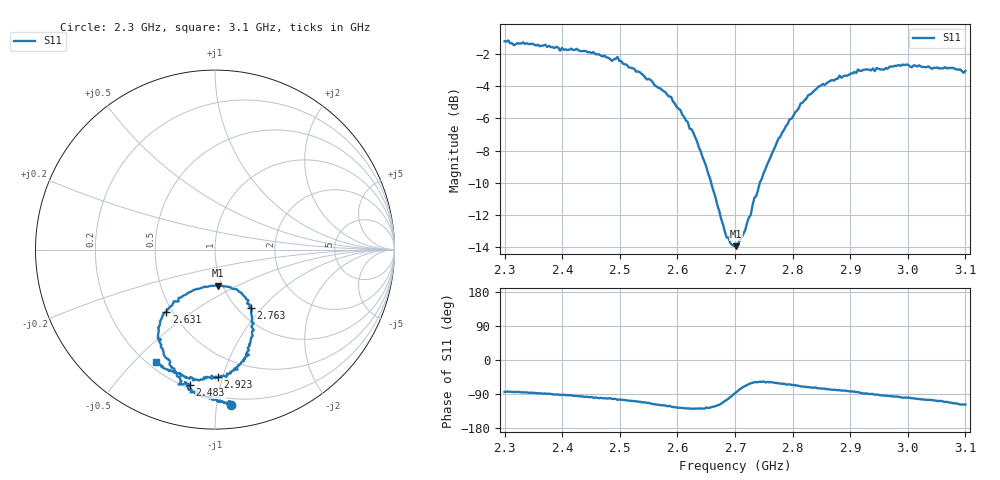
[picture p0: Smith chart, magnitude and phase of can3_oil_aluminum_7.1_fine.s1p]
# MHz S MA R 50
!  freq  S11
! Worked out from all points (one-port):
!   250 points, 2.3 GHz to 3.1 GHz, reference 50 ohm
!   lowest |S11| = -14.0 dB at 2.702 GHz (marker M1), VSWR 1.50, Z = 47.6 - j19.8 ohm
!   |S11| at or under -10 dB: 2.659 GHz to 2.743 GHz (84.63 MHz wide, 3.13 % of centre)
!   S11 on the Smith chart (normalised r, x): 2.3 GHz: 0.15, -1.09; 2.483 GHz: 0.22, -0.81; 2.631 GHz: 0.47, -0.40; 2.763 GHz: 1.14, -0.88; 2.923 GHz: 0.34, -0.97; 3.1 GHz: 0.23, -0.58
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2300  0.8716 -84.3
2325.703  0.8567 -84.3
2402.811  0.8196 -91.7
2438.153  0.8129 -97.4
2451.004  0.7999 -97.4
2454.217  0.8062 -99.7
2479.92  0.7745 -101.8
2483.133  0.7675 -100.4
2495.984  0.7786 -105.1
2502.41  0.7556 -104.7
2557.028  0.6498 -116.1
2602.008  0.5378 -126.1
2630.924  0.4385 -128.1
2646.988  0.3674 -128.5
2685.542  0.2136 -105.5
2701.606  0.2006 -85.5
2717.671  0.2248 -68.3
2733.735  0.284 -58.4
2762.651  0.384 -58.5
2801.205  0.5101 -66.2
2839.759  0.6157 -72.1
2842.972  0.624 -74.7
2900.803  0.6915 -83.2
2923.293  0.7101 -88.7
3000.402  0.7365 -99.6
3058.233  0.7181 -108.0
3090.361  0.7126 -117.2
3100  0.7048 -117.8
